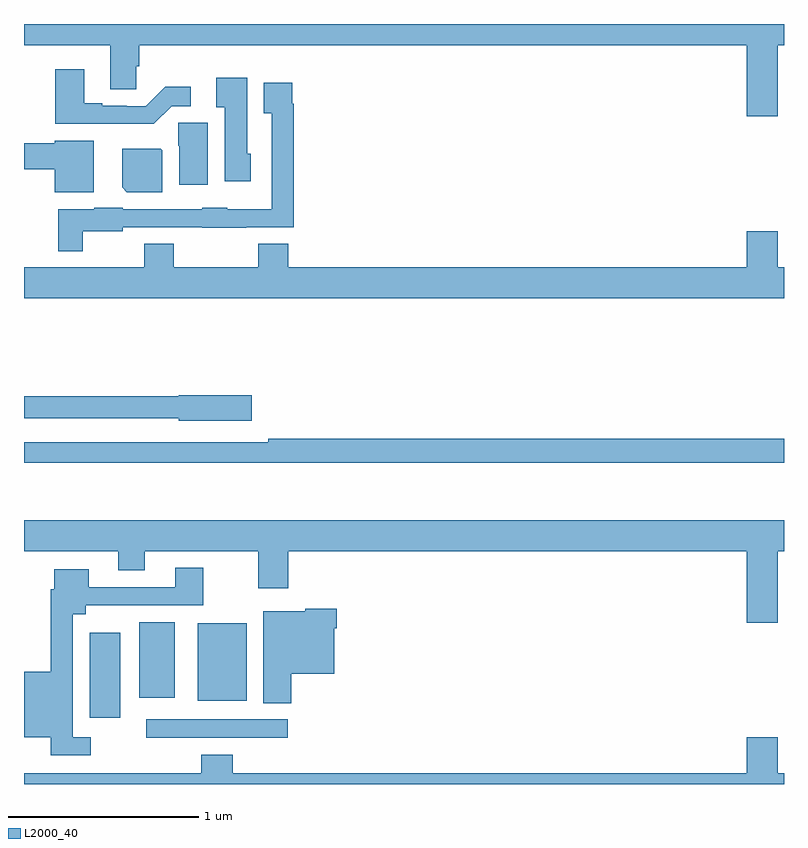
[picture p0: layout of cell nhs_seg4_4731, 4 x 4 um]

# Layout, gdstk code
import gdstk
lib = gdstk.Library(unit=1e-6, precision=1e-09)
def R(c, l, rs):  # rectangles x0, y0, x1, y1
    for r in rs: c.add(gdstk.rectangle(r[:2], r[2:], *l))
def P(c, l, *ps):  # polygons
    for p in ps: c.add(gdstk.Polygon(p, *l))
L2000_40 = (2000, 40)

nhs_seg4_4731 = lib.new_cell('nhs_seg4_4731')
R(nhs_seg4_4731, L2000_40, [(365.643,825.144,366.388,825.24), (365.345,825.249,365.506,825.697), (365.915,825.338,366.172,825.745), (365.606,825.353,365.794,825.751)])
P(nhs_seg4_4731, L2000_40, [(365,828.788),(365.453,828.788),(365.453,828.556),(365.592,828.556),(365.592,828.678),(365.606,828.678),(365.606,828.788),(368.804,828.788),(368.804,828.414),(368.968,828.414),(368.968,828.788),(369,828.788),(369,828.9),(365,828.9)],
  [(365.778,828.468),(365.878,828.468),(365.878,828.571),(365.743,828.571),(365.64,828.468),(365.54,828.468),(365.54,828.471),(365.413,828.471),(365.413,828.484),(365.317,828.484),(365.317,828.661),(365.165,828.661),(365.165,828.374),(365.683,828.374)],
  [(366.193,828.216),(366.175,828.216),(366.175,828.616),(366.011,828.616),(366.011,828.462),(366.056,828.462),(366.056,828.072),(366.193,828.072)],
  [(365.308,827.81),(365.52,827.81),(365.52,827.829),(365.937,827.829),(365.937,827.828),(366.169,827.828),(366.169,827.829),(366.419,827.829),(366.419,828.479),(366.412,828.479),(366.412,828.592),(366.263,828.592),(366.263,828.431),(366.303,828.431),(366.303,827.926),(366.069,827.926),(366.069,827.932),(365.937,827.932),(365.937,827.925),(365.52,827.925),(365.52,827.932),(365.37,827.932),(365.37,827.926),(365.179,827.926),(365.179,827.705),(365.308,827.705)],
  [(365.968,828.381),(365.812,828.381),(365.812,828.258),(365.816,828.258),(365.816,828.054),(365.968,828.054)],
  [(365.368,828.286),(365.162,828.286),(365.162,828.272),(365,828.272),(365,828.136),(365.162,828.136),(365.162,828.014),(365.368,828.014)],
  [(365.728,828.236),(365.72,828.244),(365.516,828.244),(365.516,828.04),(365.542,828.014),(365.728,828.014)],
  [(369,827.62),(368.968,827.62),(368.968,827.809),(368.804,827.809),(368.804,827.62),(366.392,827.62),(366.392,827.744),(366.232,827.744),(366.232,827.62),(365.787,827.62),(365.787,827.744),(365.632,827.744),(365.632,827.62),(365,827.62),(365,827.456),(369,827.456)],
  [(366.199,826.946),(365.814,826.946),(365.814,826.94),(365,826.94),(365,826.824),(365.814,826.824),(365.814,826.811),(366.199,826.811)],
  [(369,826.718),(366.286,826.718),(366.286,826.698),(365,826.698),(365,826.59),(369,826.59)],
  [(368.968,826.124),(369,826.124),(369,826.288),(365,826.288),(365,826.124),(365.495,826.124),(365.495,826.025),(365.635,826.025),(365.635,826.124),(366.232,826.124),(366.232,825.93),(366.392,825.93),(366.392,826.124),(368.804,826.124),(368.804,825.75),(368.968,825.75)],
  [(365.35,825.147),(365.257,825.147),(365.257,825.386),(365.256,825.386),(365.256,825.794),(365.326,825.794),(365.326,825.84),(365.943,825.84),(365.943,826.039),(365.795,826.039),(365.795,825.936),(365.341,825.936),(365.341,826.03),(365.159,826.03),(365.159,825.926),(365.14,825.926),(365.14,825.49),(365,825.49),(365,825.146),(365.14,825.146),(365.14,825.051),(365.35,825.051)],
  [(366.407,825.479),(366.634,825.479),(366.634,825.719),(366.647,825.719),(366.647,825.823),(366.48,825.823),(366.48,825.808),(366.26,825.808),(366.26,825.325),(366.407,825.325)],
  [(369,824.956),(368.968,824.956),(368.968,825.145),(368.804,825.145),(368.804,824.956),(366.098,824.956),(366.098,825.055),(365.933,825.055),(365.933,824.956),(365,824.956),(365,824.9),(369,824.9)])

lib.write_gds('nhs_seg4_4731.gds')
